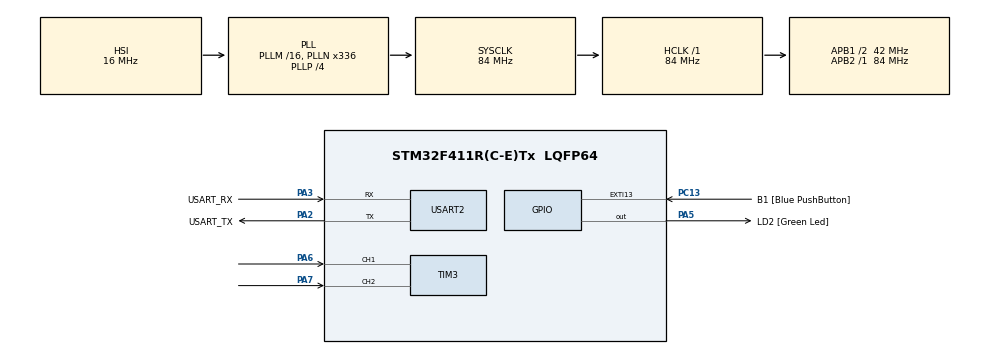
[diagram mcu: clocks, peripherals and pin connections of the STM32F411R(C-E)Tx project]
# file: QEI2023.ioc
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Mcu.Family=STM32F4
Mcu.Name=STM32F411R(C-E)Tx
Mcu.Package=LQFP64
Mcu.UserConstants=QEI_PERIOD,64512
NVIC.PriorityGroup=NVIC_PRIORITYGROUP_0
NVIC.TIM5_IRQn=true\:0\:0\:false\:false\:true\:true\:true\:true
PA13.GPIO_Label=TMS
PA13.Mode=Trace_Asynchronous_SW
PA13.Signal=SYS_JTMS-SWDIO
PA14.GPIO_Label=TCK
PA14.Mode=Trace_Asynchronous_SW
PA14.Signal=SYS_JTCK-SWCLK
PA2.GPIO_Label=USART_TX
PA2.Mode=Asynchronous
PA2.Signal=USART2_TX
PA3.GPIO_Label=USART_RX
PA3.Mode=Asynchronous
PA3.Signal=USART2_RX
PA5.GPIO_Label=LD2 [Green Led]
PA5.Signal=GPIO_Output
PA6.Signal=S_TIM3_CH1
PA7.Signal=S_TIM3_CH2
PB3.GPIO_Label=SWO
PB3.Mode=Trace_Asynchronous_SW
PB3.Signal=SYS_JTDO-SWO
PC13-ANTI_TAMP.GPIO_Label=B1 [Blue PushButton]
PC13-ANTI_TAMP.GPIO_ModeDefaultEXTI=GPIO_MODE_IT_FALLING
PC13-ANTI_TAMP.Signal=GPXTI13
PC14-OSC32_IN.Mode=LSE-External-Oscillator
PC14-OSC32_IN.Signal=RCC_OSC32_IN
PC15-OSC32_OUT.Mode=LSE-External-Oscillator
PC15-OSC32_OUT.Signal=RCC_OSC32_OUT
PH0\ -\ OSC_IN.Mode=HSE-External-Clock-Source
PH0\ -\ OSC_IN.Signal=RCC_OSC_IN
PH1\ -\ OSC_OUT.Mode=HSE-External-Clock-Source
PH1\ -\ OSC_OUT.Signal=RCC_OSC_OUT
ProjectManager.HeapSize=0x200
ProjectManager.StackSize=0x400
ProjectManager.TargetToolchain=STM32CubeIDE
RCC.48MHZClocksFreq_Value=84000000
RCC.AHBFreq_Value=84000000
RCC.APB1CLKDivider=RCC_HCLK_DIV2
RCC.APB1Freq_Value=42000000
RCC.APB1TimFreq_Value=84000000
RCC.APB2Freq_Value=84000000
RCC.APB2TimFreq_Value=84000000
RCC.CortexFreq_Value=84000000
RCC.FLatency-AdvancedSettings=FLASH_LATENCY_2
RCC.HCLKFreq_Value=84000000
RCC.HSE_VALUE=8000000
RCC.HSI_VALUE=16000000
RCC.PLLN=336
RCC.PLLP=RCC_PLLP_DIV4
RCC.SYSCLKFreq_VALUE=84000000
RCC.SYSCLKSource=RCC_SYSCLKSOURCE_PLLCLK
RCC.VCOOutputFreq_Value=336000000
SH.S_TIM3_CH1.0=TIM3_CH1,Encoder_Interface
SH.S_TIM3_CH2.0=TIM3_CH2,Encoder_Interface
TIM3.EncoderMode=TIM_ENCODERMODE_TI12
TIM3.Period=QEI_PERIOD -1
TIM5.Prescaler=83
USART2.VirtualMode=VM_ASYNC
VP_TIM5_VS_ClockSourceINT.Mode=Internal
board=NUCLEO-F411RE

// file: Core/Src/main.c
/* USER CODE BEGIN Header */
/**
  ******************************************************************************
  * @file           : main.c
  * @brief          : Main program body
  ******************************************************************************
  * @attention
  *
  * Copyright (c) 2023 STMicroelectronics.
  * All rights reserved.
  *
  * This software is licensed under terms that can be found in the LICENSE file
  * in the root directory of this software component.
  * If no LICENSE file comes with this software, it is provided AS-IS.
  *
  ******************************************************************************
  */
/* USER CODE END Header */
#include "main.h"

/* USER CODE BEGIN Includes */
#include "stdio.h"
#include "stdlib.h"
/* USER CODE END Includes */

/* USER CODE BEGIN PD */
#define ITM_Port32(n) (*((volatile uint32_t *)(0xE0000000+4*n))
/* USER CODE END PD */

TIM_HandleTypeDef htim3;
TIM_HandleTypeDef htim5;

UART_HandleTypeDef huart2;

/* USER CODE BEGIN PV */
typedef struct _QEIStructure
{
	uint32_t data[2];	//Position data contenter
	uint64_t timestamp[2];

	float QEIPosition; //step
	float QEIVelocity; //step/sec
}QEIStructureTypedef;
QEIStructureTypedef QEIData = {0};

uint64_t _micros = 0;
/* USER CODE END PV */

void SystemClock_Config(void);
static void MX_GPIO_Init(void);
static void MX_USART2_UART_Init(void);
static void MX_TIM3_Init(void);
static void MX_TIM5_Init(void);
/* USER CODE BEGIN PFP */
inline uint64_t micros();
void QEIEncoderPositionVelocity_Update();
/* USER CODE END PFP */

int main(void)
{

  /* MCU Configuration--------------------------------------------------------*/

  /* Reset of all peripherals, Initializes the Flash interface and the Systick. */
  HAL_Init();

  /* Configure the system clock */
  SystemClock_Config();

  /* Initialize all configured peripherals */
  MX_GPIO_Init();
  MX_USART2_UART_Init();
  MX_TIM3_Init();
  MX_TIM5_Init();
  /* USER CODE BEGIN 2 */
  HAL_TIM_Encoder_Start(&htim3, TIM_CHANNEL_1|TIM_CHANNEL_2);
  HAL_TIM_Base_Start(&htim5);
  /* USER CODE END 2 */

  /* Infinite loop */
  while (1)
  {

    /* USER CODE BEGIN 3 */
	  static uint64_t timestamp =0;
	  int64_t currentTime = micros();
	  if(currentTime>timestamp) // 10 Hz
	  {
			timestamp = currentTime + 100000;
			QEIEncoderPositionVelocity_Update();

	  }
  }
  /* USER CODE END 3 */
}

void SystemClock_Config(void)
{
  RCC_OscInitTypeDef RCC_OscInitStruct = {0};
  RCC_ClkInitTypeDef RCC_ClkInitStruct = {0};

  /** Configure the main internal regulator output voltage
  */
  __HAL_RCC_PWR_CLK_ENABLE();
  __HAL_PWR_VOLTAGESCALING_CONFIG(PWR_REGULATOR_VOLTAGE_SCALE1);

  /** Initializes the RCC Oscillators according to the specified parameters
  * in the RCC_OscInitTypeDef structure.
  */
  RCC_OscInitStruct.OscillatorType = RCC_OSCILLATORTYPE_HSI;
  RCC_OscInitStruct.HSIState = RCC_HSI_ON;
  RCC_OscInitStruct.HSICalibrationValue = RCC_HSICALIBRATION_DEFAULT;
  RCC_OscInitStruct.PLL.PLLState = RCC_PLL_ON;
  RCC_OscInitStruct.PLL.PLLSource = RCC_PLLSOURCE_HSI;
  RCC_OscInitStruct.PLL.PLLM = 16;
  RCC_OscInitStruct.PLL.PLLN = 336;
  RCC_OscInitStruct.PLL.PLLP = RCC_PLLP_DIV4;
  RCC_OscInitStruct.PLL.PLLQ = 4;
  if (HAL_RCC_OscConfig(&RCC_OscInitStruct) != HAL_OK)
  {
    Error_Handler();
  }

  /** Initializes the CPU, AHB and APB buses clocks
  */
  RCC_ClkInitStruct.ClockType = RCC_CLOCKTYPE_HCLK|RCC_CLOCKTYPE_SYSCLK
                              |RCC_CLOCKTYPE_PCLK1|RCC_CLOCKTYPE_PCLK2;
  RCC_ClkInitStruct.SYSCLKSource = RCC_SYSCLKSOURCE_PLLCLK;
  RCC_ClkInitStruct.AHBCLKDivider = RCC_SYSCLK_DIV1;
  RCC_ClkInitStruct.APB1CLKDivider = RCC_HCLK_DIV2;
  RCC_ClkInitStruct.APB2CLKDivider = RCC_HCLK_DIV1;

  if (HAL_RCC_ClockConfig(&RCC_ClkInitStruct, FLASH_LATENCY_2) != HAL_OK)
  {
    Error_Handler();
  }
}

static void MX_TIM3_Init(void)
{

  TIM_Encoder_InitTypeDef sConfig = {0};
  TIM_MasterConfigTypeDef sMasterConfig = {0};

  htim3.Instance = TIM3;
  htim3.Init.Prescaler = 0;
  htim3.Init.CounterMode = TIM_COUNTERMODE_UP;
  htim3.Init.Period = QEI_PERIOD -1;
  htim3.Init.ClockDivision = TIM_CLOCKDIVISION_DIV1;
  htim3.Init.AutoReloadPreload = TIM_AUTORELOAD_PRELOAD_DISABLE;
  sConfig.EncoderMode = TIM_ENCODERMODE_TI12;
  sConfig.IC1Polarity = TIM_ICPOLARITY_RISING;
  sConfig.IC1Selection = TIM_ICSELECTION_DIRECTTI;
  sConfig.IC1Prescaler = TIM_ICPSC_DIV1;
  sConfig.IC1Filter = 0;
  sConfig.IC2Polarity = TIM_ICPOLARITY_RISING;
  sConfig.IC2Selection = TIM_ICSELECTION_DIRECTTI;
  sConfig.IC2Prescaler = TIM_ICPSC_DIV1;
  sConfig.IC2Filter = 0;
  if (HAL_TIM_Encoder_Init(&htim3, &sConfig) != HAL_OK)
  {
    Error_Handler();
  }
  sMasterConfig.MasterOutputTrigger = TIM_TRGO_RESET;
  sMasterConfig.MasterSlaveMode = TIM_MASTERSLAVEMODE_DISABLE;
  if (HAL_TIMEx_MasterConfigSynchronization(&htim3, &sMasterConfig) != HAL_OK)
  {
    Error_Handler();
  }

}

static void MX_TIM5_Init(void)
{

  TIM_ClockConfigTypeDef sClockSourceConfig = {0};
  TIM_MasterConfigTypeDef sMasterConfig = {0};

  htim5.Instance = TIM5;
  htim5.Init.Prescaler = 83;
  htim5.Init.CounterMode = TIM_COUNTERMODE_UP;
  htim5.Init.Period = 4294967295;
  htim5.Init.ClockDivision = TIM_CLOCKDIVISION_DIV1;
  htim5.Init.AutoReloadPreload = TIM_AUTORELOAD_PRELOAD_DISABLE;
  if (HAL_TIM_Base_Init(&htim5) != HAL_OK)
  {
    Error_Handler();
  }
  sClockSourceConfig.ClockSource = TIM_CLOCKSOURCE_INTERNAL;
  if (HAL_TIM_ConfigClockSource(&htim5, &sClockSourceConfig) != HAL_OK)
  {
    Error_Handler();
  }
  sMasterConfig.MasterOutputTrigger = TIM_TRGO_RESET;
  sMasterConfig.MasterSlaveMode = TIM_MASTERSLAVEMODE_DISABLE;
  if (HAL_TIMEx_MasterConfigSynchronization(&htim5, &sMasterConfig) != HAL_OK)
  {
    Error_Handler();
  }

}

static void MX_USART2_UART_Init(void)
{

  huart2.Instance = USART2;
  huart2.Init.BaudRate = 115200;
  huart2.Init.WordLength = UART_WORDLENGTH_8B;
  huart2.Init.StopBits = UART_STOPBITS_1;
  huart2.Init.Parity = UART_PARITY_NONE;
  huart2.Init.Mode = UART_MODE_TX_RX;
  huart2.Init.HwFlowCtl = UART_HWCONTROL_NONE;
  huart2.Init.OverSampling = UART_OVERSAMPLING_16;
  if (HAL_UART_Init(&huart2) != HAL_OK)
  {
    Error_Handler();
  }

}

static void MX_GPIO_Init(void)
{
  GPIO_InitTypeDef GPIO_InitStruct = {0};

  /* GPIO Ports Clock Enable */
  __HAL_RCC_GPIOC_CLK_ENABLE();
  __HAL_RCC_GPIOH_CLK_ENABLE();
  __HAL_RCC_GPIOA_CLK_ENABLE();
  __HAL_RCC_GPIOB_CLK_ENABLE();

  /*Configure GPIO pin Output Level */
  HAL_GPIO_WritePin(LD2_GPIO_Port, LD2_Pin, GPIO_PIN_RESET);

  /*Configure GPIO pin : B1_Pin */
  GPIO_InitStruct.Pin = B1_Pin;
  GPIO_InitStruct.Mode = GPIO_MODE_IT_FALLING;
  GPIO_InitStruct.Pull = GPIO_NOPULL;
  HAL_GPIO_Init(B1_GPIO_Port, &GPIO_InitStruct);

  /*Configure GPIO pin : LD2_Pin */
  GPIO_InitStruct.Pin = LD2_Pin;
  GPIO_InitStruct.Mode = GPIO_MODE_OUTPUT_PP;
  GPIO_InitStruct.Pull = GPIO_NOPULL;
  GPIO_InitStruct.Speed = GPIO_SPEED_FREQ_LOW;
  HAL_GPIO_Init(LD2_GPIO_Port, &GPIO_InitStruct);

}

/* USER CODE BEGIN 4 */
void QEIEncoderPositionVelocity_Update()
{
	//collect data
	QEIData.timestamp[0] = micros();
	uint32_t couterPosition = __HAL_TIM_GET_COUNTER(&htim3);
	QEIData.data[0] = couterPosition ;

	//calculation
	QEIData.QEIPosition = couterPosition % 3072;

	int32_t diffPosition =   QEIData.data[0] - QEIData.data[1];
	float difftime = (QEIData.timestamp[0]-QEIData.timestamp[1]);

	//handle wrap-around
	if(diffPosition > QEI_PERIOD>>1) diffPosition -= QEI_PERIOD;
	if(diffPosition < -(QEI_PERIOD>>1)) diffPosition += QEI_PERIOD;

	//calculate angular velocity in pulse per sec
	QEIData.QEIVelocity = (diffPosition * 1000000)/difftime;

	QEIData.data[1] = QEIData.data[0];
	QEIData.timestamp[1] = QEIData.timestamp[0];

}
/*re-implement _write function of printf*/
int _write(int file,char *ptr,int len)
{
	int i;

	for(i = 0;i<len; i++)
	{
		ITM_SendChar(*ptr++);
	}
	return len;
}

//microsec timer implement
void HAL_TIM_PeriodElapsedCallback(TIM_HandleTypeDef *htim)
{
	if(htim == &htim5)
	{
		_micros += UINT32_MAX;
	}
}

uint64_t micros()
{
	return __HAL_TIM_GET_COUNTER(&htim5)+_micros;
}
/* USER CODE END 4 */

void Error_Handler(void)
{
  __disable_irq();
  while (1)
  {
  }
}
